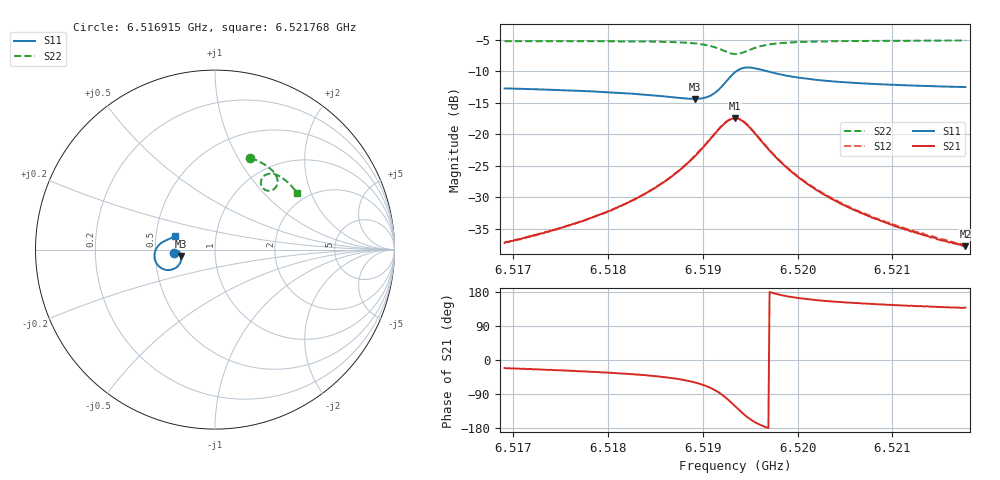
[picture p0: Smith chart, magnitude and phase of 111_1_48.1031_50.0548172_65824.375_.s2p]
#  HZ  S  RI  R  50.00
! Rohde & Schwarz Vector Network Analyzer
! Rohde-Schwarz,ZNB20-2Port,1311601062101988,3.16
! Created: UTC 12/23/2023, 3:45:45 AM
! freq[Hz]  re:S11  im:S11  re:S21  im:S21  re:S12  im:S12  re:S22  im:S22
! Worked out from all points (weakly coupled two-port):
!   401 points, 6.516915 GHz to 6.521768 GHz, reference 50 ohm
!   highest |S21| = -17.44 dB at 6.519341 GHz (marker M1); lowest = -37.7 dB at 6.521768 GHz (marker M2)
!   lowest |S11| = -14.4 dB at 6.518917 GHz (marker M3), VSWR 1.47, Z = 34.1 - j2.49 ohm
!   |S11| at or under -10 dB: start of sweep to 6.519353 GHz; 6.519684 GHz to end of sweep
!   |S22| runs from -7.3 to -5.1 dB; largest |S21 - S12| = 0.0041
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6.5169148e9  -0.2311 -0.0189  0.0129 -0.005  0.013 -0.00473  0.1974 0.5115
6.5172788e9  -0.2273 -0.0135  0.0148 -0.00688  0.0149 -0.00631  0.2243 0.5006
6.5177277e9  -0.2212 -0.00797  0.0178 -0.0101  0.018 -0.00958  0.2576 0.4845
6.5182008e9  -0.2118 -0.00552  0.0229 -0.017  0.0234 -0.0163  0.293 0.4623
6.5185406e9  -0.2019 -0.00966  0.0285 -0.0272  0.0297 -0.0265  0.3192 0.4404
6.5187347e9  -0.1947 -0.018  0.0324 -0.0385  0.0338 -0.0377  0.3342 0.4228
6.5189167e9  -0.1882 -0.0352  0.0344 -0.0575  0.0365 -0.0568  0.3463 0.3981
6.5190259e9  -0.1881 -0.0541  0.0313 -0.076  0.0339 -0.0755  0.3488 0.3773
6.5191108e9  -0.1948 -0.0751  0.0219 -0.095  0.0251 -0.0949  0.3444 0.3574
6.5192443e9  -0.2363 -0.1102  -0.0204 -0.1229  -0.0169 -0.1244  0.3129 0.3294
6.5192928e9  -0.2634 -0.1139  -0.0453 -0.1235  -0.042 -0.1258  0.2933 0.3281
6.5193413e9  -0.2924 -0.1066  -0.0707 -0.1141  -0.0678 -0.117  0.2743 0.3361
6.519402e9  -0.3215 -0.083  -0.094 -0.0904  -0.092 -0.0938  0.2586 0.3563
6.5194626e9  -0.3357 -0.052  -0.1032 -0.0618  -0.1022 -0.0653  0.2558 0.3794
6.5195597e9  -0.3336 -0.00922  -0.0968 -0.0256  -0.0968 -0.0286  0.2694 0.407
6.5196689e9  -0.3177 0.0198  -0.08 -0.00349  -0.0806 -0.00578  0.292 0.4205
6.5198873e9  -0.2889 0.0436  -0.0534 0.011  -0.0542 0.00944  0.3288 0.4211
6.5201542e9  -0.2678 0.0538  -0.0358 0.0137  -0.0366 0.0127  0.3595 0.4091
6.5204939e9  -0.2522 0.0604  -0.0242 0.0129  -0.0249 0.0123  0.3874 0.3902
6.5209671e9  -0.2389 0.0677  -0.0161 0.011  -0.0168 0.0108  0.418 0.3624
6.5214888e9  -0.2285 0.0748  -0.0112 0.00941  -0.0118 0.00926  0.4461 0.3307
6.5217679e9  -0.224 0.0786  -0.00972 0.00864  -0.01 0.00877  0.4594 0.3134
